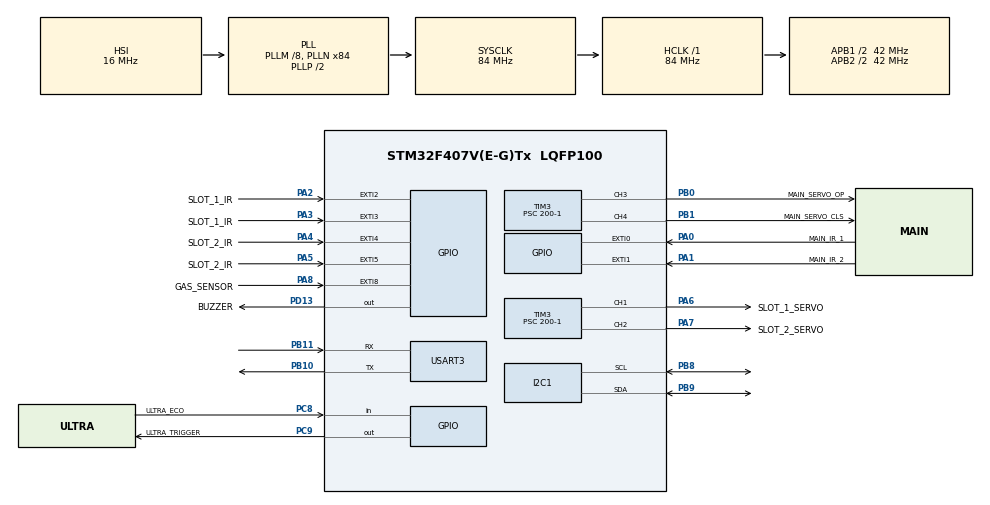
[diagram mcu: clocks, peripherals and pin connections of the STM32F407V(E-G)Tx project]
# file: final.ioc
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Mcu.Family=STM32F4
Mcu.Name=STM32F407V(E-G)Tx
Mcu.Package=LQFP100
NVIC.EXTI0_IRQn=true\:0\:0\:false\:false\:true\:true\:true\:true
NVIC.EXTI1_IRQn=true\:0\:0\:false\:false\:true\:true\:true\:true
NVIC.EXTI2_IRQn=true\:0\:0\:false\:false\:true\:true\:true\:true
NVIC.EXTI3_IRQn=true\:0\:0\:false\:false\:true\:true\:true\:true
NVIC.EXTI4_IRQn=true\:0\:0\:false\:false\:true\:true\:true\:true
NVIC.EXTI9_5_IRQn=true\:0\:0\:false\:false\:true\:true\:true\:true
NVIC.PriorityGroup=NVIC_PRIORITYGROUP_0
PA0-WKUP.GPIO_Label=MAIN_IR_1
PA0-WKUP.GPIO_ModeDefaultEXTI=GPIO_MODE_IT_FALLING
PA0-WKUP.Signal=GPXTI0
PA1.GPIO_Label=MAIN_IR_2
PA1.GPIO_ModeDefaultEXTI=GPIO_MODE_IT_FALLING
PA1.Signal=GPXTI1
PA13.Mode=Serial_Wire
PA13.Signal=SYS_JTMS-SWDIO
PA14.Mode=Serial_Wire
PA14.Signal=SYS_JTCK-SWCLK
PA2.GPIO_Label=SLOT_1_IR
PA2.GPIO_ModeDefaultEXTI=GPIO_MODE_IT_FALLING
PA2.Signal=GPXTI2
PA3.GPIO_Label=SLOT_1_IR
PA3.GPIO_ModeDefaultEXTI=GPIO_MODE_IT_FALLING
PA3.Signal=GPXTI3
PA4.GPIO_Label=SLOT_2_IR
PA4.GPIO_ModeDefaultEXTI=GPIO_MODE_IT_FALLING
PA4.Signal=GPXTI4
PA5.GPIO_Label=SLOT_2_IR
PA5.GPIO_ModeDefaultEXTI=GPIO_MODE_IT_FALLING
PA5.Signal=GPXTI5
PA6.GPIO_Label=SLOT_1_SERVO
PA6.Signal=S_TIM3_CH1
PA7.GPIO_Label=SLOT_2_SERVO
PA7.Signal=S_TIM3_CH2
PA8.GPIO_Label=GAS_SENSOR
PA8.GPIO_ModeDefaultEXTI=GPIO_MODE_IT_FALLING
PA8.Signal=GPXTI8
PB0.GPIO_Label=MAIN_SERVO_OP
PB0.Signal=S_TIM3_CH3
PB1.GPIO_Label=MAIN_SERVO_CLS
PB1.Signal=S_TIM3_CH4
PB10.Mode=Asynchronous
PB10.Signal=USART3_TX
PB11.Mode=Asynchronous
PB11.Signal=USART3_RX
PB8.Mode=I2C
PB8.Signal=I2C1_SCL
PB9.Mode=I2C
PB9.Signal=I2C1_SDA
PC8.GPIO_Label=ULTRA_ECO
PC8.Signal=GPIO_Input
PC9.GPIO_Label=ULTRA_TRIGGER
PC9.Signal=GPIO_Output
PD13.GPIO_Label=BUZZER
PD13.Signal=GPIO_Output
PH0-OSC_IN.Mode=HSE-External-Oscillator
PH0-OSC_IN.Signal=RCC_OSC_IN
PH1-OSC_OUT.Mode=HSE-External-Oscillator
PH1-OSC_OUT.Signal=RCC_OSC_OUT
ProjectManager.HeapSize=0x200
ProjectManager.StackSize=0x400
ProjectManager.TargetToolchain=STM32CubeIDE
RCC.48MHZClocksFreq_Value=24000000
RCC.AHBFreq_Value=84000000
RCC.APB1CLKDivider=RCC_HCLK_DIV2
RCC.APB1Freq_Value=42000000
RCC.APB1TimFreq_Value=84000000
RCC.APB2CLKDivider=RCC_HCLK_DIV2
RCC.APB2Freq_Value=42000000
RCC.APB2TimFreq_Value=84000000
RCC.CortexFreq_Value=84000000
RCC.HCLKFreq_Value=84000000
RCC.HSE_VALUE=8000000
RCC.HSI_VALUE=16000000
RCC.LSE_VALUE=32768
RCC.PLLM=8
RCC.PLLN=84
RCC.PLLQ=7
RCC.SYSCLKFreq_VALUE=84000000
RCC.SYSCLKSource=RCC_SYSCLKSOURCE_PLLCLK
RCC.VCOOutputFreq_Value=168000000
SH.S_TIM3_CH1.0=TIM3_CH1,PWM Generation1 CH1
SH.S_TIM3_CH2.0=TIM3_CH2,PWM Generation2 CH2
SH.S_TIM3_CH3.0=TIM3_CH3,PWM Generation3 CH3
SH.S_TIM3_CH4.0=TIM3_CH4,PWM Generation4 CH4
TIM3.Channel-PWM\ Generation1\ CH1=TIM_CHANNEL_1
TIM3.Channel-PWM\ Generation2\ CH2=TIM_CHANNEL_2
TIM3.Channel-PWM\ Generation3\ CH3=TIM_CHANNEL_3
TIM3.Channel-PWM\ Generation4\ CH4=TIM_CHANNEL_4
TIM3.Period=8400-1
TIM3.Prescaler=200-1
USART3.VirtualMode=VM_ASYNC
board=STM32F407G-DISC1

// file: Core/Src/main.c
/* USER CODE BEGIN Header */
/**
  ******************************************************************************
  * @file           : main.c
  * @brief          : Main program body
  ******************************************************************************
  * @attention
  *
  * Copyright (c) 2025 STMicroelectronics.
  * All rights reserved.
  *
  * This software is licensed under terms that can be found in the LICENSE file
  * in the root directory of this software component.
  * If no LICENSE file comes with this software, it is provided AS-IS.
  *
  ******************************************************************************
  */
/* USER CODE END Header */
#include "main.h"

/* USER CODE BEGIN Includes */
#include <stdint.h>
#include <stdio.h>
#include "I2C.h"
#include "LCD.h"
#include "string.h"
#include "uart.h"

/* USER CODE END Includes */

I2C_HandleTypeDef hi2c1;

TIM_HandleTypeDef htim3;

UART_HandleTypeDef huart3;

/* USER CODE BEGIN PV */
volatile uint8_t flag0 =0;
volatile uint8_t flag1 =0;
volatile uint8_t flag2 =0;
volatile uint8_t flag3 =0;
volatile uint8_t flag4 =0;
volatile uint8_t flag5 =0;
volatile uint8_t flag8 =0;
int car_Slot =2;
int bus_Slot =2;

/* USER CODE END PV */

void SystemClock_Config(void);
static void MX_GPIO_Init(void);
static void MX_TIM3_Init(void);
static void MX_I2C1_Init(void);
static void MX_USART3_UART_Init(void);

/* USER CODE BEGIN 0 */
void Set_Servo_Angle(TIM_HandleTypeDef *htim,uint32_t channel,uint8_t angle)
{
	uint32_t PULSE_SET = 210 + (angle *(1050-210)/180);
	__HAL_TIM_SET_COMPARE(htim,channel,PULSE_SET);
}

void HAL_GPIO_EXTI_Callback(uint16_t GPIO_Pin)
{

    switch(GPIO_Pin)
       {
           case GPIO_PIN_0:
              if(flag0 == 0)
               flag0 =1;
               Set_Servo_Angle(&htim3, TIM_CHANNEL_3, 90);
               break;

           case GPIO_PIN_1:
        	   if(flag1 ==0)
        	   flag1 =1;
        	   Set_Servo_Angle(&htim3, TIM_CHANNEL_4, 90);
               break;

           case GPIO_PIN_2:
               if(flag2==0)
               flag2 =1;
               if(bus_Slot >0)
               Set_Servo_Angle(&htim3, TIM_CHANNEL_1, 90);
               break;

           case GPIO_PIN_3:
               if(flag3==0)
               flag3=1;
               Set_Servo_Angle(&htim3, TIM_CHANNEL_1, 90);
               break;

           case GPIO_PIN_4:
        	   if(flag4 == 0)
        	   flag4 =1;
        	   if(car_Slot >0)
        	   Set_Servo_Angle(&htim3, TIM_CHANNEL_2, 90);
               break;

           case GPIO_PIN_5:
        	   if(flag5 ==0)
        	   flag5 =1;
        	   Set_Servo_Angle(&htim3, TIM_CHANNEL_2, 90);
               break;
           case GPIO_PIN_8:
           if(flag8 ==0)
           flag8 =1;
           Set_Servo_Angle(&htim3, TIM_CHANNEL_2, 90);
           Set_Servo_Angle(&htim3, TIM_CHANNEL_1, 90);
           Set_Servo_Angle(&htim3, TIM_CHANNEL_3, 90);
           Set_Servo_Angle(&htim3, TIM_CHANNEL_4, 90);
           break;

           default:
               break;
       }
}

/* USER CODE END 0 */

int main(void)
{

  /* USER CODE BEGIN 1 */
	char msg[32];
	char str[20];
	uint8_t car_in =0;
	uint8_t car_out =0;
	uint8_t bus_in =0;
	uint8_t bus_out =0;
  /* USER CODE END 1 */

  /* MCU Configuration--------------------------------------------------------*/

  /* Reset of all peripherals, Initializes the Flash interface and the Systick. */
  HAL_Init();

  /* Configure the system clock */
  SystemClock_Config();

  /* Initialize all configured peripherals */
  MX_GPIO_Init();
  MX_TIM3_Init();
  MX_I2C1_Init();
  MX_USART3_UART_Init();
  /* USER CODE BEGIN 2 */
  HAL_Delay(1000);
  HAL_TIM_PWM_Start(&htim3, TIM_CHANNEL_2);
  HAL_TIM_PWM_Start(&htim3, TIM_CHANNEL_1);
  HAL_TIM_PWM_Start(&htim3, TIM_CHANNEL_3);
  HAL_TIM_PWM_Start(&htim3, TIM_CHANNEL_4);
  char main_scr[20];

  	    I2CInit();
  	    HAL_Delay(100);

  	    UartInit(11500);

  	    LcdInit(SLOT_1);
  	    HAL_Delay(100);
  	    LcdPuts(SLOT_1, LCD_LINE1, "LCD1 OK!");
  	    LcdPuts(SLOT_1,LCD_LINE2, "Tested");

  	    LcdInit(SLOT_2);
  	    HAL_Delay(100);
  	    LcdPuts(SLOT_2, LCD_LINE1, "LCD2 OK!");
  	    LcdPuts(SLOT_2, LCD_LINE2, "Tested");

  	    LcdInit(MAIN);
  	    HAL_Delay(100);
  	    LcdPuts(MAIN, LCD_LINE1, "MAIN_LCD OK!");
  	    LcdPuts(MAIN, LCD_LINE2, "Tested");
  	    LcdPuts(MAIN, LCD_LINE3, "Tested");
  	    LcdPuts(MAIN, LCD_LINE4, "Tested");

  	  LcdPuts(MAIN, LCD_LINE1, "--------------------");
  	  LcdPuts(MAIN, LCD_LINE2, "|      WELCOME     |");
  	  LcdPuts(MAIN, LCD_LINE3, "|   SUNBEAM SMART  |");
  	  LcdPuts(MAIN, LCD_LINE4, "|      PARKING     |");
      LcdPuts(SLOT_1,LCD_LINE1,"  Smart Parking ");
  	  LcdPuts(SLOT_1,LCD_LINE2,"     Sunbeam   ");
  	  HAL_Delay(3000);

      LcdPuts(SLOT_2,LCD_LINE1,"  Smart Parking ");
  	  LcdPuts(SLOT_2,LCD_LINE2,"     Sunbeam   ");
  	  HAL_Delay(3000);

  	  Set_Servo_Angle(&htim3, TIM_CHANNEL_1, 0);
  	  Set_Servo_Angle(&htim3, TIM_CHANNEL_2, 0);
      Set_Servo_Angle(&htim3, TIM_CHANNEL_3, 0);
      Set_Servo_Angle(&htim3, TIM_CHANNEL_4, 0);

  /* USER CODE END 2 */

  /* Infinite loop */
  while (1)
  {
	  //----------------node mcu transer--------------

	     UartPuts("DESD @ Sunbeam.\r\n");
	     sprintf(msg,"car_slot = %d ,bus_slot = %d \r\n",car_Slot,bus_Slot);
	     UartPuts(msg);

	  	  //-----------------main_lcd-----------------
	  	  LcdPuts(MAIN, LCD_LINE1, "--------------------");
	  	  LcdPuts(MAIN, LCD_LINE2, "| CAR-PARK BUS-PARK|");
	  	  //LcdPuts(MAIN, LCD_LINE3, "|TOTAL  2   TOTAL  2 |");
	  	  sprintf(main_scr,"| AVAIL-%d   AVAIL-%d|",car_Slot,bus_Slot);
	  	  LcdPuts(MAIN, LCD_LINE3,main_scr);
	  	  LcdPuts(MAIN, LCD_LINE4,"--------------------");
	  	  //-----------------alert--------------------
	  	  if(flag8 ==1)
	  	  {
	  		  LcdPuts(SLOT_1,LCD_LINE1,"____ALERT !!____");
	  		  LcdPuts(SLOT_1,LCD_LINE2,"___FIRE ALARM___");
	  		  LcdPuts(SLOT_2,LCD_LINE1,"____ALERT !!____");
	  		  LcdPuts(SLOT_2,LCD_LINE2,"___FIRE ALARM___");
	  		  while(1)
	  		  {
	  			  HAL_GPIO_WritePin(GPIOD, GPIO_PIN_13,GPIO_PIN_SET);
	  			  HAL_Delay(200);
	  			  HAL_GPIO_WritePin(GPIOD, GPIO_PIN_13,GPIO_PIN_RESET);
	  			  HAL_Delay(200);

	  		  }
	  	  }
	  	  //----------------main_gate------------------
	  	  if(flag0== 1)
	  	  {
	  		  HAL_Delay(1000);
	  		  Set_Servo_Angle(&htim3, TIM_CHANNEL_3, 0);
	  		  flag0 =0;
	  	  }
	  	  if(flag1== 1)
	  	  {
	  	  	  Set_Servo_Angle(&htim3, TIM_CHANNEL_4, 0);
	  	  	  flag1 =0;
	  	  }

	  	  //--------------slot ---------------------------

	  	  LcdPuts(SLOT_1,LCD_LINE1,"____BUS SLOT____" );

	  	 	  if(bus_Slot > 0 )
	  	 	  {
	  	 	  sprintf(str ," AVAILABLE =  %d \r\n",bus_Slot);
	  	 	  LcdPuts(SLOT_1,LCD_LINE2, str);

	  	 	  if(flag2 == 1)
	  	 	  	  {

	  	 	  	                Set_Servo_Angle(&htim3, TIM_CHANNEL_1, 90);
	  	 	  	                HAL_Delay(2000);
	  	 	  	                bus_in =1;

	  	 	  	                while(!(HAL_GPIO_ReadPin(GPIOA, GPIO_PIN_2)== GPIO_PIN_SET))
	  	 	  	                {
	  	 	  	                	HAL_Delay(2000);

	  	 	  	                }

	  	 	  	            // Sweep back from 90 to 0 degrees

	  	 	  	                Set_Servo_Angle(&htim3, TIM_CHANNEL_1, 0);
	  	 	  	               // HAL_Delay(2000);
	  	 	  	                flag2 = 0;

	  	 		  	  	  	    if(flag3==1  && bus_in ==1)
	  	 		  	  	  		  {
	  	 		  	  	  			  bus_Slot--;

	  	 		  	  	  			  flag3 =0;
	  	 		  	  	  			  bus_in =0;

	  	 		  	  	  		  }

	  	 	  	  }
	  	 	  else if(flag3 == 1)
	  	 	  {
	  	 		  bus_label:
	  	 		  Set_Servo_Angle(&htim3, TIM_CHANNEL_1, 90);
	  	 		 	  	                HAL_Delay(2000);
	  	 		 	  	                bus_out =1;

	  	 		 	  	                while(!(HAL_GPIO_ReadPin(GPIOA, GPIO_PIN_3)== GPIO_PIN_SET))
	  	 		 	  	                {
	  	 		 	  	                	HAL_Delay(2000);

	  	 		 	  	                }

	  	 		 	  	            // Sweep back from 90 to 0 degrees

	  	 		 	  	                Set_Servo_Angle(&htim3, TIM_CHANNEL_1, 0);
	  	 		 	  	               // HAL_Delay(2000);
	  	 		 	  	                flag3 = 0;

	  	 		 		  	  	  	    if(flag2==1  && bus_out ==1)
	  	 		 		  	  	  		  {
	  	 		 		  	  	  			  bus_Slot++;

	  	 		 		  	  	  			  flag2 =0;
	  	 		 		  	  	  			  bus_out =0;

	  	 		 		  	  	  		  }

	  	 	  }

	  	 	  }
	  	 	  else
	  	 	  {
	  	 		  LcdPuts(SLOT_1, LCD_LINE2, "FULL !          \r");

	  	 		  if(flag3 == 1)
	  	 			  goto bus_label;
	  	 	  }

	  	 	  /////////////////////////////////////////////////////////////

	  	 	 LcdPuts(SLOT_2,LCD_LINE1,"____CAR SLOT____" );

	  	 	 	 	  if(car_Slot > 0 )
	  	 	 	 	  {
	  	 	 	 	  sprintf(str ," AVAILABLE =  %d \r\n",car_Slot);
	  	 	 	 	  LcdPuts(SLOT_2,LCD_LINE2, str);

	  	 	 	 	  if(flag4 == 1)
	  	 	 	 	  	  {

	  	 	 	 	  	                Set_Servo_Angle(&htim3, TIM_CHANNEL_2, 90);
	  	 	 	 	  	                HAL_Delay(2000);
	  	 	 	 	  	                car_in =1;

	  	 	 	 	  	                while(!(HAL_GPIO_ReadPin(GPIOA, GPIO_PIN_4)== GPIO_PIN_SET))
	  	 	 	 	  	                {
	  	 	 	 	  	                	HAL_Delay(2000);

	  	 	 	 	  	                }

	  	 	 	 	  	            // Sweep back from 90 to 0 degrees

	  	 	 	 	  	                Set_Servo_Angle(&htim3, TIM_CHANNEL_2, 0);
	  	 	 	 	  	               // HAL_Delay(2000);
	  	 	 	 	  	                flag4 = 0;

	  	 	 	 		  	  	  	    if(flag5==1  && car_in ==1)
	  	 	 	 		  	  	  		  {
	  	 	 	 		  	  	  			  car_Slot--;

	  	 	 	 		  	  	  			  flag5 =0;
	  	 	 	 		  	  	  			  car_in =0;

	  	 	 	 		  	  	  		  }

	  	 	 	 	  	  }
	  	 	 	 	  else if(flag5 == 1)
	  	 	 	 	  {
	  	 	 	 		  car_label:
	  	 	 	 		  Set_Servo_Angle(&htim3, TIM_CHANNEL_2, 90);
	  	 	 	 		 	  	                HAL_Delay(2000);
	  	 	 	 		 	  	                car_out =1;

	  	 	 	 		 	  	                while(!(HAL_GPIO_ReadPin(GPIOA, GPIO_PIN_5)== GPIO_PIN_SET))
	  	 	 	 		 	  	                {
	  	 	 	 		 	  	                	HAL_Delay(2000);

	  	 	 	 		 	  	                }

	  	 	 	 		 	  	            // Sweep back from 90 to 0 degrees

	  	 	 	 		 	  	                Set_Servo_Angle(&htim3, TIM_CHANNEL_2, 0);
	  	 	 	 		 	  	               // HAL_Delay(2000);
	  	 	 	 		 	  	                flag5 = 0;

	  	 	 	 		 		  	  	  	    if(flag4==1  && car_out ==1)
	  	 	 	 		 		  	  	  		  {
	  	 	 	 		 		  	  	  			  car_Slot++;

	  	 	 	 		 		  	  	  			  flag4 =0;
	  	 	 	 		 		  	  	  			  car_out =0;

	  	 	 	 		 		  	  	  		  }

	  	 	 	 	  }

	  	 	 	 	  }
	  	 	 	 	  else
	  	 	 	 	  {
	  	 	 	 		  LcdPuts(SLOT_2, LCD_LINE2, "FULL !          \r");

	  	 	 	 		  if(flag5 == 1)
	  	 	 	 			  goto car_label;
	  	 	 	 	  }

  }
}

void SystemClock_Config(void)
{
  RCC_OscInitTypeDef RCC_OscInitStruct = {0};
  RCC_ClkInitTypeDef RCC_ClkInitStruct = {0};

  /** Configure the main internal regulator output voltage
  */
  __HAL_RCC_PWR_CLK_ENABLE();
  __HAL_PWR_VOLTAGESCALING_CONFIG(PWR_REGULATOR_VOLTAGE_SCALE1);

  /** Initializes the RCC Oscillators according to the specified parameters
  * in the RCC_OscInitTypeDef structure.
  */
  RCC_OscInitStruct.OscillatorType = RCC_OSCILLATORTYPE_HSI;
  RCC_OscInitStruct.HSIState = RCC_HSI_ON;
  RCC_OscInitStruct.HSICalibrationValue = RCC_HSICALIBRATION_DEFAULT;
  RCC_OscInitStruct.PLL.PLLState = RCC_PLL_ON;
  RCC_OscInitStruct.PLL.PLLSource = RCC_PLLSOURCE_HSI;
  RCC_OscInitStruct.PLL.PLLM = 8;
  RCC_OscInitStruct.PLL.PLLN = 84;
  RCC_OscInitStruct.PLL.PLLP = RCC_PLLP_DIV2;
  RCC_OscInitStruct.PLL.PLLQ = 7;
  if (HAL_RCC_OscConfig(&RCC_OscInitStruct) != HAL_OK)
  {
    Error_Handler();
  }

  /** Initializes the CPU, AHB and APB buses clocks
  */
  RCC_ClkInitStruct.ClockType = RCC_CLOCKTYPE_HCLK|RCC_CLOCKTYPE_SYSCLK
                              |RCC_CLOCKTYPE_PCLK1|RCC_CLOCKTYPE_PCLK2;
  RCC_ClkInitStruct.SYSCLKSource = RCC_SYSCLKSOURCE_PLLCLK;
  RCC_ClkInitStruct.AHBCLKDivider = RCC_SYSCLK_DIV1;
  RCC_ClkInitStruct.APB1CLKDivider = RCC_HCLK_DIV2;
  RCC_ClkInitStruct.APB2CLKDivider = RCC_HCLK_DIV2;

  if (HAL_RCC_ClockConfig(&RCC_ClkInitStruct, FLASH_LATENCY_2) != HAL_OK)
  {
    Error_Handler();
  }
}

static void MX_I2C1_Init(void)
{

  hi2c1.Instance = I2C1;
  hi2c1.Init.ClockSpeed = 100000;
  hi2c1.Init.DutyCycle = I2C_DUTYCYCLE_2;
  hi2c1.Init.OwnAddress1 = 0;
  hi2c1.Init.AddressingMode = I2C_ADDRESSINGMODE_7BIT;
  hi2c1.Init.DualAddressMode = I2C_DUALADDRESS_DISABLE;
  hi2c1.Init.OwnAddress2 = 0;
  hi2c1.Init.GeneralCallMode = I2C_GENERALCALL_DISABLE;
  hi2c1.Init.NoStretchMode = I2C_NOSTRETCH_DISABLE;
  if (HAL_I2C_Init(&hi2c1) != HAL_OK)
  {
    Error_Handler();
  }

}

static void MX_TIM3_Init(void)
{

  TIM_MasterConfigTypeDef sMasterConfig = {0};
  TIM_OC_InitTypeDef sConfigOC = {0};

  htim3.Instance = TIM3;
  htim3.Init.Prescaler = 200-1;
  htim3.Init.CounterMode = TIM_COUNTERMODE_UP;
  htim3.Init.Period = 8400-1;
  htim3.Init.ClockDivision = TIM_CLOCKDIVISION_DIV1;
  htim3.Init.AutoReloadPreload = TIM_AUTORELOAD_PRELOAD_DISABLE;
  if (HAL_TIM_PWM_Init(&htim3) != HAL_OK)
  {
    Error_Handler();
  }
  sMasterConfig.MasterOutputTrigger = TIM_TRGO_RESET;
  sMasterConfig.MasterSlaveMode = TIM_MASTERSLAVEMODE_DISABLE;
  if (HAL_TIMEx_MasterConfigSynchronization(&htim3, &sMasterConfig) != HAL_OK)
  {
    Error_Handler();
  }
  sConfigOC.OCMode = TIM_OCMODE_PWM1;
  sConfigOC.Pulse = 0;
  sConfigOC.OCPolarity = TIM_OCPOLARITY_HIGH;
  sConfigOC.OCFastMode = TIM_OCFAST_DISABLE;
  if (HAL_TIM_PWM_ConfigChannel(&htim3, &sConfigOC, TIM_CHANNEL_1) != HAL_OK)
  {
    Error_Handler();
  }
  if (HAL_TIM_PWM_ConfigChannel(&htim3, &sConfigOC, TIM_CHANNEL_2) != HAL_OK)
  {
    Error_Handler();
  }
  if (HAL_TIM_PWM_ConfigChannel(&htim3, &sConfigOC, TIM_CHANNEL_3) != HAL_OK)
  {
    Error_Handler();
  }
  if (HAL_TIM_PWM_ConfigChannel(&htim3, &sConfigOC, TIM_CHANNEL_4) != HAL_OK)
  {
    Error_Handler();
  }
  HAL_TIM_MspPostInit(&htim3);

}

static void MX_USART3_UART_Init(void)
{

  huart3.Instance = USART3;
  huart3.Init.BaudRate = 115200;
  huart3.Init.WordLength = UART_WORDLENGTH_8B;
  huart3.Init.StopBits = UART_STOPBITS_1;
  huart3.Init.Parity = UART_PARITY_NONE;
  huart3.Init.Mode = UART_MODE_TX_RX;
  huart3.Init.HwFlowCtl = UART_HWCONTROL_NONE;
  huart3.Init.OverSampling = UART_OVERSAMPLING_16;
  if (HAL_UART_Init(&huart3) != HAL_OK)
  {
    Error_Handler();
  }

}

static void MX_GPIO_Init(void)
{
  GPIO_InitTypeDef GPIO_InitStruct = {0};

  /* GPIO Ports Clock Enable */
  __HAL_RCC_GPIOH_CLK_ENABLE();
  __HAL_RCC_GPIOA_CLK_ENABLE();
  __HAL_RCC_GPIOB_CLK_ENABLE();
  __HAL_RCC_GPIOD_CLK_ENABLE();
  __HAL_RCC_GPIOC_CLK_ENABLE();

  /*Configure GPIO pin Output Level */
  HAL_GPIO_WritePin(BUZZER_GPIO_Port, BUZZER_Pin, GPIO_PIN_RESET);

  /*Configure GPIO pin Output Level */
  HAL_GPIO_WritePin(ULTRA_TRIGGER_GPIO_Port, ULTRA_TRIGGER_Pin, GPIO_PIN_RESET);

  /*Configure GPIO pins : MAIN_IR_1_Pin MAIN_IR_2_Pin SLOT_1_IR_Pin SLOT_1_IRA3_Pin
                           SLOT_2_IR_Pin SLOT_2_IRA5_Pin GAS_SENSOR_Pin */
  GPIO_InitStruct.Pin = MAIN_IR_1_Pin|MAIN_IR_2_Pin|SLOT_1_IR_Pin|SLOT_1_IRA3_Pin
                          |SLOT_2_IR_Pin|SLOT_2_IRA5_Pin|GAS_SENSOR_Pin;
  GPIO_InitStruct.Mode = GPIO_MODE_IT_FALLING;
  GPIO_InitStruct.Pull = GPIO_NOPULL;
  HAL_GPIO_Init(GPIOA, &GPIO_InitStruct);

  /*Configure GPIO pin : BUZZER_Pin */
  GPIO_InitStruct.Pin = BUZZER_Pin;
  GPIO_InitStruct.Mode = GPIO_MODE_OUTPUT_PP;
  GPIO_InitStruct.Pull = GPIO_NOPULL;
  GPIO_InitStruct.Speed = GPIO_SPEED_FREQ_LOW;
  HAL_GPIO_Init(BUZZER_GPIO_Port, &GPIO_InitStruct);

  /*Configure GPIO pin : ULTRA_ECO_Pin */
  GPIO_InitStruct.Pin = ULTRA_ECO_Pin;
  GPIO_InitStruct.Mode = GPIO_MODE_INPUT;
  GPIO_InitStruct.Pull = GPIO_NOPULL;
  HAL_GPIO_Init(ULTRA_ECO_GPIO_Port, &GPIO_InitStruct);

  /*Configure GPIO pin : ULTRA_TRIGGER_Pin */
  GPIO_InitStruct.Pin = ULTRA_TRIGGER_Pin;
  GPIO_InitStruct.Mode = GPIO_MODE_OUTPUT_PP;
  GPIO_InitStruct.Pull = GPIO_NOPULL;
  GPIO_InitStruct.Speed = GPIO_SPEED_FREQ_LOW;
  HAL_GPIO_Init(ULTRA_TRIGGER_GPIO_Port, &GPIO_InitStruct);

  /* EXTI interrupt init*/
  HAL_NVIC_SetPriority(EXTI0_IRQn, 0, 0);
  HAL_NVIC_EnableIRQ(EXTI0_IRQn);

  HAL_NVIC_SetPriority(EXTI1_IRQn, 0, 0);
  HAL_NVIC_EnableIRQ(EXTI1_IRQn);

  HAL_NVIC_SetPriority(EXTI2_IRQn, 0, 0);
  HAL_NVIC_EnableIRQ(EXTI2_IRQn);

  HAL_NVIC_SetPriority(EXTI3_IRQn, 0, 0);
  HAL_NVIC_EnableIRQ(EXTI3_IRQn);

  HAL_NVIC_SetPriority(EXTI4_IRQn, 0, 0);
  HAL_NVIC_EnableIRQ(EXTI4_IRQn);

  HAL_NVIC_SetPriority(EXTI9_5_IRQn, 0, 0);
  HAL_NVIC_EnableIRQ(EXTI9_5_IRQn);

}

void Error_Handler(void)
{
  __disable_irq();
  while (1)
  {
  }
}
